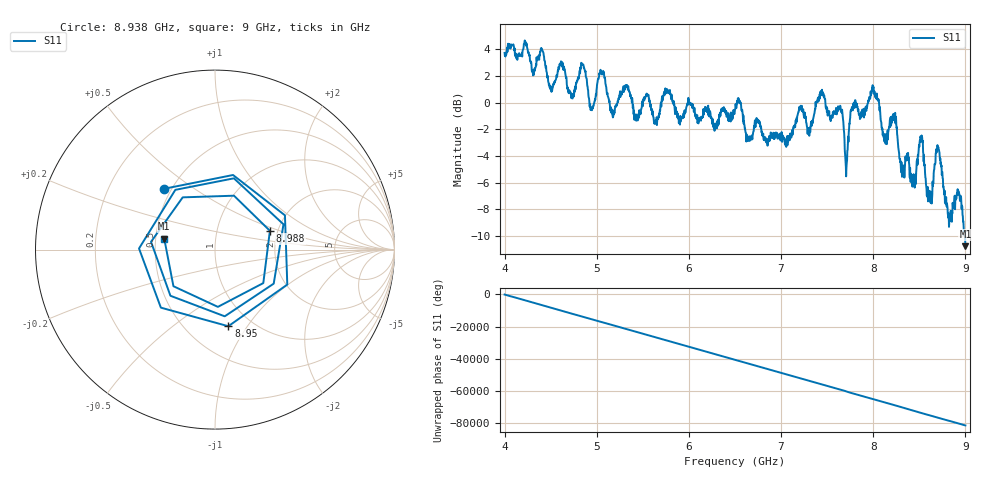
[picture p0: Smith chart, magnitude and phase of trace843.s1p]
! Created with skrf 1.8.0 (http://scikit-rf.org).
# Hz S RI R 50.0
!freq ReS11 ImS11
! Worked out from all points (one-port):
!   1601 points, 4 GHz to 9 GHz, reference 50 ohm
!   lowest |S11| = -10.8 dB at 9 GHz (marker M1), VSWR 1.81, Z = 27.8 + j3.67 ohm
!   |S11| at or under -10 dB: 8.9949 GHz to end of sweep
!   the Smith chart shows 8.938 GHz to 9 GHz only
!   S11 on the Smith chart (normalised r, x): 8.938 GHz: 0.45, +0.38; 8.95 GHz: 0.78, -0.82; 8.988 GHz: 1.82, +0.43; 9 GHz: 0.56, +0.07
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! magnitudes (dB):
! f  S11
! 4 GHz  3.7
! 4.403 GHz  4.0
! 4.503 GHz  0.9
! 4.625 GHz  2.7
! 4.728 GHz  0.6
! 4.853 GHz  2.9
! 4.944 GHz  -0.3
! 5.053 GHz  2.2
! 5.169 GHz  -0.9
! 5.25 GHz  0.7
! 5.875 GHz  -1.0
! 6.5 GHz  -0.5
! 7.125 GHz  -2.3
! 7.444 GHz  1.0
! 7.644 GHz  -0.3
! 7.706 GHz  -5.5
! 7.75 GHz  -1.1
! 8.003 GHz  1.2
! 8.375 GHz  -4.3
! 8.444 GHz  -6.3
! 8.519 GHz  -2.6
! 8.612 GHz  -6.6
! 8.703 GHz  -3.4
! 8.828 GHz  -8.6
! 8.938 GHz  -7.1
! 8.95 GHz  -7.3
! 8.988 GHz  -9.8
! 9 GHz  -10.8
